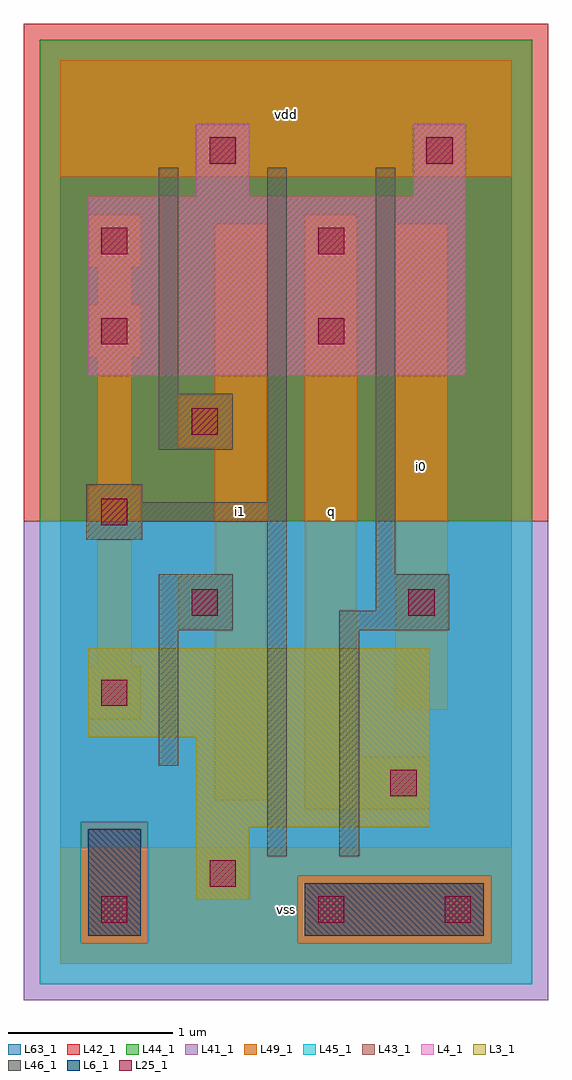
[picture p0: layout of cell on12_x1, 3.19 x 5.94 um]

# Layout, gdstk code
import gdstk
lib = gdstk.Library(unit=1e-6, precision=1e-09)
def R(c, l, rs):  # rectangles x0, y0, x1, y1
    for r in rs: c.add(gdstk.rectangle(r[:2], r[2:], *l))
def A(c, l, x, y, w, h, nx, ny, dx, dy):  # array of equal rectangles
    R(c, l, [(x+i*dx, y+j*dy, x+i*dx+w, y+j*dy+h) for i in range(nx) for j in range(ny)])
L3_1 = (3, 1)
L4_1 = (4, 1)
L6_1 = (6, 1)
L25_1 = (25, 1)
L41_1 = (41, 1)
L42_1 = (42, 1)
L43_1 = (43, 1)
L44_1 = (44, 1)
L45_1 = (45, 1)
L46_1 = (46, 1)
L49_1 = (49, 1)
L63_1 = (63, 1)

on12_x1 = lib.new_cell('on12_x1')
R(on12_x1, L3_1, [(0.83,0.39,1.15,0.83), (0.83,0.83,2.25,1.38), (0.17,1.38,2.25,1.92)])
R(on12_x1, L4_1, [(0.17,3.58,2.47,4.67), (0.83,4.67,1.15,5.11), (2.15,4.67,2.47,5.11)])
R(on12_x1, L6_1, [(0.17,0.17,0.49,0.82), (1.49,0.17,2.58,0.49)])
A(on12_x1, L25_1, 0.25, 1.57, 0.16, 0.16, 1, 3, 0, 1.1)
R(on12_x1, L25_1, [(0.25,0.25,0.41,0.41), (1.57,0.25,1.73,0.41), (2.34,0.25,2.5,0.41), (0.91,0.47,1.07,0.63), (2.01,1.02,2.17,1.18), (0.8,2.12,0.96,2.28), (2.12,2.12,2.28,2.28), (0.8,3.22,0.96,3.38), (1.57,3.77,1.73,3.93), (0.25,4.32,0.41,4.48), (1.57,4.32,1.73,4.48), (0.91,4.87,1.07,5.03), (2.23,4.87,2.39,5.03)])
R(on12_x1, L41_1, [(-0.22,-0.22,2.97,2.695)])
R(on12_x1, L42_1, [(-0.22,2.695,2.97,5.72)])
R(on12_x1, L43_1, [(0.17,0.17,0.49,0.82), (1.49,0.17,2.58,0.49), (0.83,0.39,1.15,0.83), (0.83,0.83,2.25,1.38), (0.17,1.38,2.25,1.92), (0.17,3.58,2.47,4.67), (0.83,4.67,1.15,5.11), (2.15,4.67,2.47,5.11)])
R(on12_x1, L44_1, [(0.125,0.125,0.535,0.865), (1.445,0.125,2.625,0.535), (-0.125,2.695,2.875,5.625)])
R(on12_x1, L45_1, [(-0.125,-0.125,2.875,0.125), (-0.125,0.125,0.125,0.865), (0.535,0.125,1.445,0.535), (2.625,0.125,2.875,0.535), (0.535,0.535,2.875,0.865), (-0.125,0.865,2.875,2.695)])
R(on12_x1, L46_1, [(1.26,0.655,1.38,2.69), (1.7,0.655,1.82,2.03), (0.6,1.205,0.72,2.03), (0.6,2.03,1.05,2.37), (1.7,2.03,2.37,2.15), (1.92,2.15,2.37,2.37), (1.92,2.37,2.04,4.845), (0.16,2.58,0.5,2.69), (0.16,2.69,1.38,2.81), (0.16,2.81,0.5,2.92), (1.26,2.81,1.38,4.845), (0.6,3.13,1.05,3.47), (0.6,3.47,0.72,4.845)])
A(on12_x1, L49_1, 0.17, 1.49, 0.32, 0.32, 1, 3, 0, 1.1)
R(on12_x1, L49_1, [(0,0,2.75,0.71), (1.49,0.94,2.25,1.26), (0.94,0.995,1.26,2.04), (1.49,1.26,1.81,4.56), (2.04,1.545,2.36,4.505), (0.225,1.81,0.435,2.59), (0.72,2.04,1.26,2.36), (0.94,2.36,1.26,3.14), (0.225,2.91,0.435,3.69), (0.72,3.14,1.26,3.46), (0.94,3.46,1.26,4.505), (0.225,4.01,0.435,4.24), (0.17,4.24,0.49,4.56), (0,4.79,2.75,5.5)])
R(on12_x1, L63_1, [(0,0,2.75,5.5)])
on12_x1.add(gdstk.Label('i1', (1.1,2.75), layer=49, texttype=1))
on12_x1.add(gdstk.Label('i1', (1.1,2.75), layer=49, texttype=1))
on12_x1.add(gdstk.Label('vss', (1.375,0.33), layer=49, texttype=1))
on12_x1.add(gdstk.Label('vss', (1.375,0.33), layer=49, texttype=1))
on12_x1.add(gdstk.Label('q', (1.65,2.75), layer=49, texttype=1))
on12_x1.add(gdstk.Label('q', (1.65,2.75), layer=49, texttype=1))
on12_x1.add(gdstk.Label('vdd', (1.375,5.17), layer=49, texttype=1))
on12_x1.add(gdstk.Label('vdd', (1.375,5.17), layer=49, texttype=1))
on12_x1.add(gdstk.Label('i0', (2.2,3.025), layer=49, texttype=1))
on12_x1.add(gdstk.Label('i0', (2.2,3.025), layer=49, texttype=1))

lib.write_gds('on12_x1.gds')
